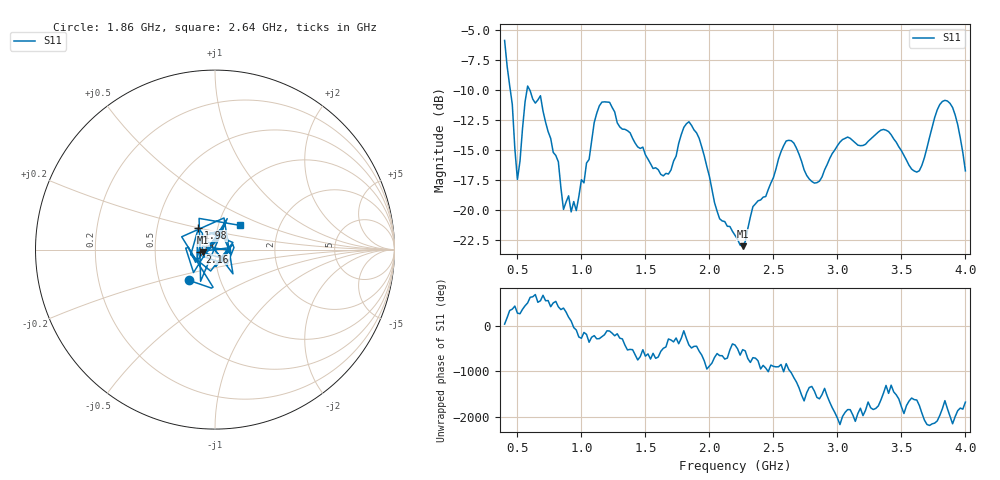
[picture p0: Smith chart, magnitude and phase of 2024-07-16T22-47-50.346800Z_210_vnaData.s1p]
!Created with skrf (http://scikit-rf.org).
# Hz S RI R 50.0
!freq ReS11 ImS11
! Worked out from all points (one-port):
!   181 points, 400 MHz to 4 GHz, reference 50 ohm
!   lowest |S11| = -23.0 dB at 2.26 GHz (marker M1), VSWR 1.15, Z = 43.5 - j1.32 ohm
!   |S11| at or under -10 dB: 444.3 MHz to 575 MHz (130.7 MHz wide, 25.6 % of centre); 596.3 MHz to end of sweep
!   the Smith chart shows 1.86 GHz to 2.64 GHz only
!   S11 on the Smith chart (normalised r, x): 1.86 GHz: 0.71, -0.25; 1.98 GHz: 0.81, +0.20; 2.16 GHz: 0.84, -0.02; 2.64 GHz: 1.27, +0.36
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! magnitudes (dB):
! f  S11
! 400 MHz  -5.9
! 460 MHz  -11.2
! 500 MHz  -17.5
! 580 MHz  -9.7
! 680 MHz  -10.5
! 820 MHz  -16.0
! 860 MHz  -19.9
! 960 MHz  -20.0
! 1.14 GHz  -11.3
! 1.3 GHz  -13.1
! 1.64 GHz  -17.2
! 1.76 GHz  -14.5
! 1.86 GHz  -12.9
! 1.98 GHz  -16.4
! 2.08 GHz  -20.7
! 2.16 GHz  -21.4
! 2.2 GHz  -22.1
! 2.26 GHz  -23.0
! 2.64 GHz  -14.2
! 2.66 GHz  -14.4
! 2.82 GHz  -17.8
! 3.1 GHz  -14.0
! 3.38 GHz  -13.3
! 3.56 GHz  -16.3
! 3.64 GHz  -16.7
! 3.84 GHz  -10.9
! 3.92 GHz  -12.1
! 4 GHz  -16.7
